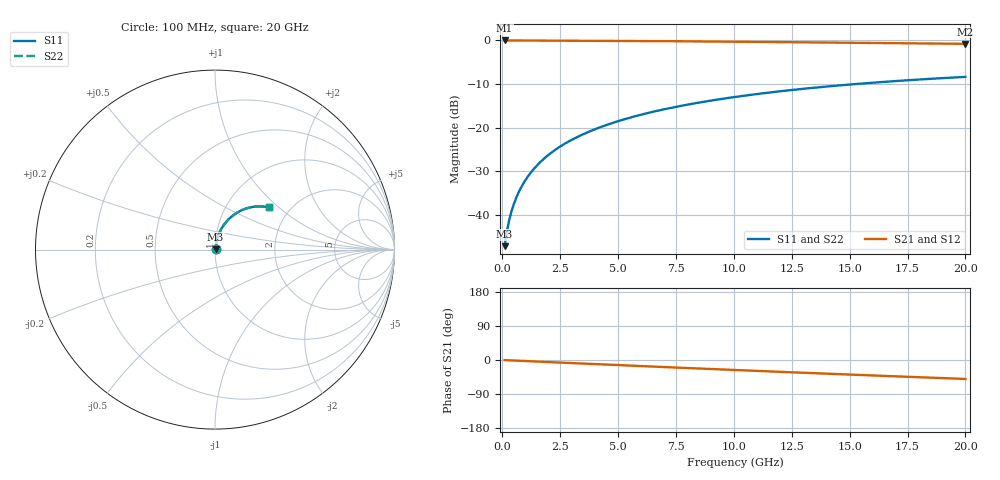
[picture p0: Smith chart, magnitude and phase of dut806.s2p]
! Touchstone file exported from HFSS 2026.1.0
!  File:  C:/ffzhzh/LocalFiles/Ansys_Project_Files/temp_train_TMRDL_806_1783156211_18472.aedt
!  Generated:  05:11:23 PM Jul  4, 2026
!  Design:  TMRDL
!  Project:  temp_train_TMRDL_806_1783156211_18472
! Variables:
!  h_bsmrdl = 2um
!  h_ox = 20um
!  h_rdl = 5um
!  h_sub = 80um
!  h_tmrdl = 3.59um
!  h_tsv = 80um
!  h_via = 3um
!  l_bsmrdl = 300um
!  l_sub = 1183.32um
!  l_tmrdl = 783.32um
!  m_sub = 200um
!  pitch = 45.98um
!  r_tsv = 6um
!  s_tmrdl = 10um
!  w_bsmrdl = 18um
!  w_sub = 500um
!  w_tmrdl = 24.18um
!  x_tsv_center1 = 795.41um
!  x_tsv_center2 = 1113.41um
!  x_tsv_center3 = 1920.91um
!  x_tsv_center4 = 2238.91um
!  x_tsv_center5 = 3046.41um
!  x_tsv_center6 = 3364.41um
# GHz S MA R 50.000000
! Terminal data exported
! Port[1] = TM_RDL1_1_T1
! Port[2] = TM_RDL1_1_T2
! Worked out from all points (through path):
!   200 points, 100 MHz to 20 GHz, reference 50 ohm
!   highest |S21| = -0.03 dB at 100 MHz (marker M1); lowest = -0.8 dB at 20 GHz (marker M2)
!   group delay of S21, straight-line fit = 6.95 ps
!   lowest |S11| = -47.1 dB at 100 MHz (marker M3), VSWR 1.01, Z = 50.3 + j0.277 ohm
!   |S11| at or under -10 dB: start of sweep to 15.28 GHz
!   |S22| runs from -47.1 to -8.4 dB; largest |S21 - S12| = 2.1e-15
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0.1  0.004395 38.7  0.9966 -0.3  0.9966 -0.3  0.004395 38.7
! Gamma 0 0 0 0
! Port Impedance 50 0 50 0
0.2  0.006504 55.4  0.9963 -0.6  0.9963 -0.6  0.006504 55.4
0.3  0.008777 63.1  0.9961 -0.8  0.9961 -0.8  0.008777 63.1
0.4  0.01107 67.5  0.9959 -1.1  0.9959 -1.1  0.01107 67.5
0.5  0.01336 70.5  0.9958 -1.4  0.9958 -1.4  0.01336 70.5
0.6  0.01568 72.6  0.9956 -1.7  0.9956 -1.7  0.01568 72.6
0.8  0.02035 75.4  0.9954 -2.2  0.9954 -2.2  0.02035 75.4
1.1  0.02744 77.5  0.9951 -3.0  0.9951 -3.0  0.02744 77.5
1.3  0.0322 78.2  0.9949 -3.5  0.9949 -3.5  0.0322 78.2
1.6  0.03936 78.7  0.9945 -4.4  0.9945 -4.4  0.03936 78.7
2.1  0.05128 78.7  0.9937 -5.7  0.9937 -5.7  0.05128 78.7
2.7  0.06551 78.0  0.9925 -7.3  0.9925 -7.3  0.06551 78.0
3.5  0.08428 76.6  0.9906 -9.5  0.9906 -9.5  0.08428 76.6
4.2  0.1005 75.1  0.9887 -11.3  0.9887 -11.3  0.1005 75.1
5  0.1187 73.2  0.9861 -13.4  0.9861 -13.4  0.1187 73.2
5.9  0.1387 71.1  0.9828 -15.8  0.9828 -15.8  0.1387 71.1
6.8  0.1583 68.9  0.9793 -18.1  0.9793 -18.1  0.1583 68.9
8.3  0.1897 65.2  0.9727 -22.0  0.9727 -22.0  0.1898 65.3
10.1  0.2256 60.9  0.9641 -26.5  0.9641 -26.5  0.2256 60.9
13.4  0.2855 53.1  0.947 -34.7  0.947 -34.7  0.2855 53.1
16.7  0.3376 45.5  0.9291 -42.5  0.9291 -42.5  0.3376 45.5
20  0.3815 38.2  0.9117 -50.0  0.9117 -50.0  0.3816 38.2
